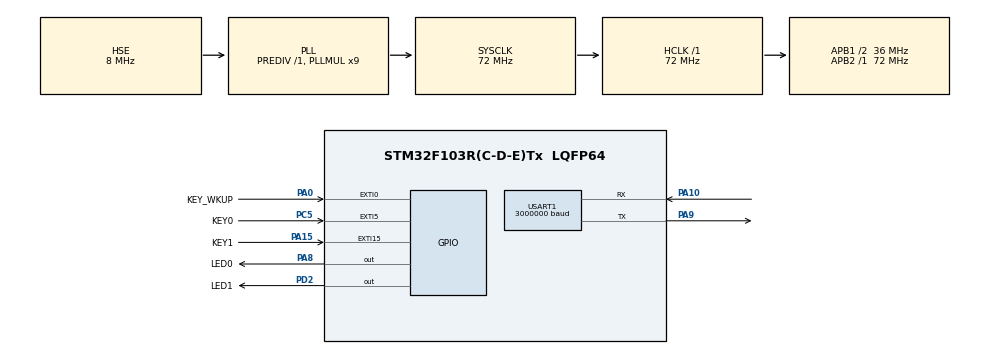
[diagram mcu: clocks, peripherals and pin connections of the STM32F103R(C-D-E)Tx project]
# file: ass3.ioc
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Mcu.Family=STM32F1
Mcu.Name=STM32F103R(C-D-E)Tx
Mcu.Package=LQFP64
NVIC.EXTI0_IRQn=true\:2\:0\:true\:false\:true\:true\:true\:true
NVIC.EXTI15_10_IRQn=true\:2\:2\:true\:false\:true\:true\:true\:true
NVIC.EXTI9_5_IRQn=true\:2\:1\:true\:false\:true\:true\:true\:true
NVIC.PriorityGroup=NVIC_PRIORITYGROUP_2
NVIC.TIM3_IRQn=true\:2\:3\:true\:false\:true\:true\:true\:true
NVIC.USART1_IRQn=true\:1\:0\:true\:false\:true\:true\:true\:true
PA0-WKUP.GPIO_Label=KEY_WKUP
PA0-WKUP.GPIO_PuPd=GPIO_PULLDOWN
PA0-WKUP.Signal=GPXTI0
PA10.Mode=Asynchronous
PA10.Signal=USART1_RX
PA13.Mode=Serial_Wire
PA13.Signal=SYS_JTMS-SWDIO
PA14.Mode=Serial_Wire
PA14.Signal=SYS_JTCK-SWCLK
PA15.GPIO_Label=KEY1
PA15.GPIO_ModeDefaultEXTI=GPIO_MODE_IT_FALLING
PA15.GPIO_PuPd=GPIO_PULLUP
PA15.Signal=GPXTI15
PA8.GPIO_Label=LED0
PA8.Signal=GPIO_Output
PA9.Mode=Asynchronous
PA9.Signal=USART1_TX
PC5.GPIO_Label=KEY0
PC5.GPIO_ModeDefaultEXTI=GPIO_MODE_IT_FALLING
PC5.GPIO_PuPd=GPIO_PULLUP
PC5.Signal=GPXTI5
PD0-OSC_IN.Mode=HSE-External-Oscillator
PD0-OSC_IN.Signal=RCC_OSC_IN
PD1-OSC_OUT.Mode=HSE-External-Oscillator
PD1-OSC_OUT.Signal=RCC_OSC_OUT
PD2.GPIO_Label=LED1
PD2.Signal=GPIO_Output
ProjectManager.HeapSize=0x200
ProjectManager.StackSize=0x400
ProjectManager.TargetToolchain=STM32CubeIDE
RCC.AHBFreq_Value=72000000
RCC.APB1CLKDivider=RCC_HCLK_DIV2
RCC.APB1Freq_Value=36000000
RCC.APB1TimFreq_Value=72000000
RCC.APB2Freq_Value=72000000
RCC.APB2TimFreq_Value=72000000
RCC.HCLKFreq_Value=72000000
RCC.PLLMUL=RCC_PLL_MUL9
RCC.PLLSourceVirtual=RCC_PLLSOURCE_HSE
RCC.SYSCLKFreq_VALUE=72000000
RCC.SYSCLKSource=RCC_SYSCLKSOURCE_PLLCLK
RCC.USBFreq_Value=72000000
TIM3.Period=9999
TIM3.Prescaler=7199
USART1.BaudRate=3000000
USART1.VirtualMode=VM_ASYNC
VP_TIM3_VS_ClockSourceINT.Mode=Internal
board=custom

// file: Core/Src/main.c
/* USER CODE BEGIN Header */
/**
  ******************************************************************************
  * @file           : main.c
  * @brief          : Main program body
  ******************************************************************************
  * @attention
  *
  * Copyright (c) 2024 STMicroelectronics.
  * All rights reserved.
  *
  * This software is licensed under terms that can be found in the LICENSE file
  * in the root directory of this software component.
  * If no LICENSE file comes with this software, it is provided AS-IS.
  *
  ******************************************************************************
  */
/* USER CODE END Header */
#include "main.h"
#include "tim.h"
#include "usart.h"
#include "gpio.h"

/* USER CODE BEGIN Includes */
#include "lcd.h"
#include <string.h>
/* USER CODE END Includes */

/* USER CODE BEGIN PD */

/*
  VIDEO  0 - 135
  SCRPRT 160 -

  bar 284 - 290
  | H, W, <- pause/start ->, time | 300 - 312
*/
#define SCR_PRT_y 160
#define BAR_y 284
#define BAR_s 6
#define INFO_y 300
#define INFO_s 12

#define H_x 10 // - 52
#define W_x 58 // - 100

#define PS_x 144
#define PS_s 12

#define TIME_x 200

/* USER CODE END PD */

/* USER CODE BEGIN PV */
uint16_t* video_buffer = NULL;
uint16_t* video_meta = NULL; // H, W, fps, total_fps
size_t video_meta_len = 4;
int scale = 1;
uint8_t rxBuffer;

volatile int duration = 0; // for TIM irq

uint32_t video_size = 0;
volatile uint8_t sig_unpack_meta = 0;
volatile uint8_t sig_unpack_video = 0;
volatile uint8_t sig_save_frame = 0;
volatile uint8_t sig_scale = 0;
volatile uint8_t sig_UI = 0;
/* USER CODE END PV */

void SystemClock_Config(void);
/* USER CODE BEGIN PFP */
void save_frame();

void draw_bar();
void draw_UI();
void scale_change();
void draw_ps();
void draw_info();
/* USER CODE END PFP */

int main(void)
{

  /* MCU Configuration--------------------------------------------------------*/

  /* Reset of all peripherals, Initializes the Flash interface and the Systick. */
  HAL_Init();

  /* Configure the system clock */
  SystemClock_Config();

  /* Initialize all configured peripherals */
  MX_GPIO_Init();
  MX_USART1_UART_Init();
  MX_TIM3_Init();
  /* USER CODE BEGIN 2 */
  BACK_COLOR = BLACK;
  POINT_COLOR = WHITE;
  LCD_Init();
  LCD_Clear(BACK_COLOR);
  HAL_UART_Receive_IT(&huart1, &rxBuffer, 1);
  video_meta = (uint16_t*)malloc(sizeof(uint16_t)*video_meta_len);
  draw_ps();
  HAL_TIM_Base_Start_IT(&htim3);
  /* USER CODE END 2 */

  /* Infinite loop */
  while (1)
  {

    /* USER CODE BEGIN 3 */
    if(sig_scale){
      sig_scale = 0;
      LCD_Fill(0, 0, video_meta[0]*scale, video_meta[1]*scale, BACK_COLOR);
      scale_change();
    }

    if(sig_UI){
      sig_UI = 0;
      draw_UI();
    }

    if(sig_unpack_meta){
      sig_unpack_meta = 0;
      if(video_buffer != NULL){
        free(video_buffer);
        LCD_Fill(0, 0, video_meta[0]*scale, video_meta[1]*scale, BACK_COLOR);
      }
      video_buffer = (uint16_t*)malloc(sizeof(uint16_t)*(video_size+1));
      duration = 0;

      draw_info();
    }

    if(sig_unpack_video){
      sig_unpack_video = 0;
      if(video_buffer == NULL || video_size == 0){
        LCD_ShowString(10, 280, 220, 12, 12, (uint8_t*)"Video Buffer not init.");
        ack = 0x10;
        continue;;
      }
      LCD_myColor_Fill_Window(0, 0, video_meta[0]-1, video_meta[1]-1, video_buffer, scale);
    }

    if(sig_save_frame && video_buffer != NULL){
      save_frame();
      sig_save_frame = 0;
    }

  }
  /* USER CODE END 3 */
}

void SystemClock_Config(void)
{
  RCC_OscInitTypeDef RCC_OscInitStruct = {0};
  RCC_ClkInitTypeDef RCC_ClkInitStruct = {0};

  /** Initializes the RCC Oscillators according to the specified parameters
  * in the RCC_OscInitTypeDef structure.
  */
  RCC_OscInitStruct.OscillatorType = RCC_OSCILLATORTYPE_HSE;
  RCC_OscInitStruct.HSEState = RCC_HSE_ON;
  RCC_OscInitStruct.HSEPredivValue = RCC_HSE_PREDIV_DIV1;
  RCC_OscInitStruct.HSIState = RCC_HSI_ON;
  RCC_OscInitStruct.PLL.PLLState = RCC_PLL_ON;
  RCC_OscInitStruct.PLL.PLLSource = RCC_PLLSOURCE_HSE;
  RCC_OscInitStruct.PLL.PLLMUL = RCC_PLL_MUL9;
  if (HAL_RCC_OscConfig(&RCC_OscInitStruct) != HAL_OK)
  {
    Error_Handler();
  }

  /** Initializes the CPU, AHB and APB buses clocks
  */
  RCC_ClkInitStruct.ClockType = RCC_CLOCKTYPE_HCLK|RCC_CLOCKTYPE_SYSCLK
                              |RCC_CLOCKTYPE_PCLK1|RCC_CLOCKTYPE_PCLK2;
  RCC_ClkInitStruct.SYSCLKSource = RCC_SYSCLKSOURCE_PLLCLK;
  RCC_ClkInitStruct.AHBCLKDivider = RCC_SYSCLK_DIV1;
  RCC_ClkInitStruct.APB1CLKDivider = RCC_HCLK_DIV2;
  RCC_ClkInitStruct.APB2CLKDivider = RCC_HCLK_DIV1;

  if (HAL_RCC_ClockConfig(&RCC_ClkInitStruct, FLASH_LATENCY_2) != HAL_OK)
  {
    Error_Handler();
  }
}

/* USER CODE BEGIN 4 */
int mymin(int a, int b){
  return a<b ? a : b;
}
int mymax(int a, int b){
  return a>b ? a : b;
}
void scale_change(){
  // LCD_Fill(0, 0, video_meta[0]*scale, video_meta[1]*scale, BACK_COLOR);
  int maximum = mymax(3, mymin(240/video_meta[0], 320/video_meta[1]));
  scale = scale % maximum + 1;
}
void save_frame(){
  LCD_Color_Fill(0, SCR_PRT_y, video_meta[0]-1, video_meta[1]+SCR_PRT_y-1, video_buffer);
}
void draw_info(){
  LCD_ShowString(H_x, INFO_y, 12, INFO_s, INFO_s, (uint8_t*)"H:");
  LCD_ShowNum(H_x+12, INFO_y, video_meta[1], 5, INFO_s);
  LCD_ShowString(W_x, INFO_y, 12, INFO_s, INFO_s, (uint8_t*)"W:");
  LCD_ShowNum(W_x+12, INFO_y, video_meta[0], 5, INFO_s);

  draw_ps();

  static char ss[6];
  ss[0] = '0' + duration/600%10;
  ss[1] = '0' + duration/60%10;
  ss[2] = ':';
  ss[3] = '0' + duration%60/10%10;
  ss[4] = '0' + duration%60%10;
  ss[5] = 0;
  LCD_ShowString(TIME_x, INFO_y, 40, INFO_s, INFO_s, (uint8_t*)ss);
}

void draw_ps(){
  LCD_Color_Fill(PS_x, INFO_y, PS_x+PS_s-1, INFO_y+PS_s-1, (is_paused == 0 ? IMG_pause : IMG_start));
}

void LCD_myDraw_Bar(uint16_t sx, uint16_t sy, uint16_t ex, uint16_t ey,
		uint16_t nw, uint16_t tot) {
	uint16_t height, width;
	uint16_t i, j;
	width = ex - sx + 1;
	height = ey - sy + 1;
	LCD_Set_Window(sx, sy, width, height);
	LCD_SetCursor(sx, sy);
	LCD_WriteRAM_Prepare();
	for (i = 0; i < height; i++) {
    uint16_t x1 = (i*3 >= height && i*3 < height * 2);
		for (j = 0; j < width; j++){
			LCD_WR_DATA((x1 || j*tot < width * nw) ? POINT_COLOR : BACK_COLOR);
    }
	}
	LCD_Set_Window(0, 0, 240, 320);
}

void draw_bar(){
  LCD_myDraw_Bar(10, BAR_y, 230, BAR_y+BAR_s, video_buffer[video_size], video_meta[3]);
}
void draw_UI(){
  draw_info();
  draw_bar();
}
/* USER CODE END 4 */

void Error_Handler(void)
{
  __disable_irq();
  while (1)
  {
  }
}
